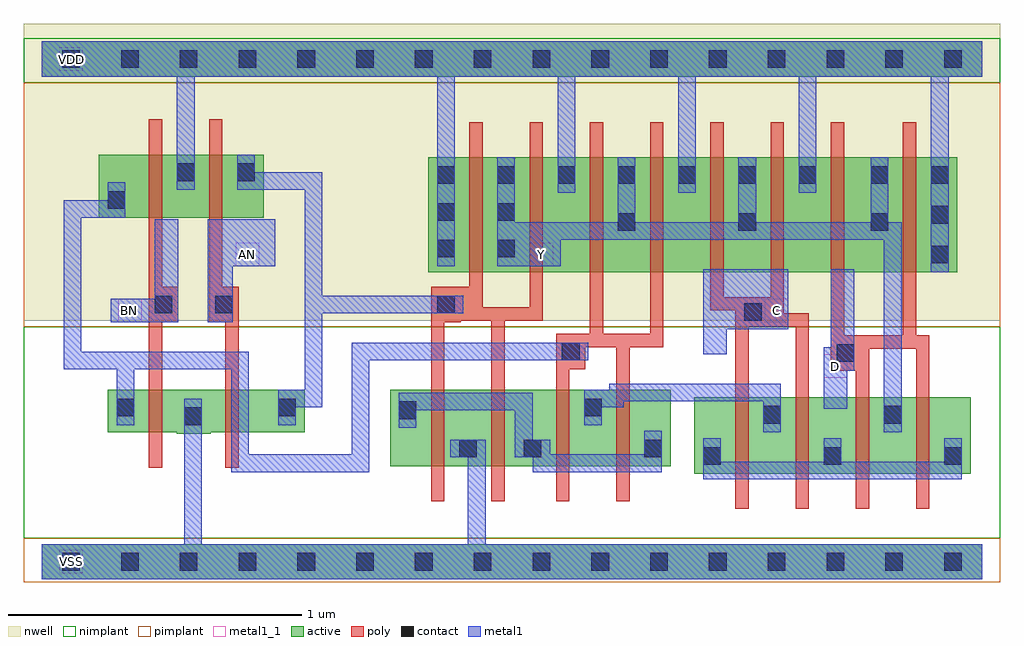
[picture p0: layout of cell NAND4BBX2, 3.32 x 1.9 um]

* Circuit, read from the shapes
.subckt NAND4BBX2 AN BN C D VDD VSS Y
M1 VSS BN n1 VSS nfet w=0.145u l=0.045u
M2 n2 AN VSS VSS nfet w=0.145u l=0.045u
M3 VSS n2 n3 VSS nfet w=0.26u l=0.045u m=2
M4 n4 n1 n3 VSS nfet w=0.26u l=0.045u m=2
M5 n4 C n5 VSS nfet w=0.26u l=0.045u m=2
M6 Y D n5 VSS nfet w=0.26u l=0.045u m=2
M7 VDD BN n1 VDD pfet w=0.215u l=0.045u
M8 n2 AN VDD VDD pfet w=0.215u l=0.045u
M9 Y n2 VDD VDD pfet w=0.39u l=0.045u m=2
M10 Y n1 VDD VDD pfet w=0.39u l=0.045u m=2
M11 Y C VDD VDD pfet w=0.39u l=0.045u m=2
M12 Y D VDD VDD pfet w=0.39u l=0.045u m=2
.ends

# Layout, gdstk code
import gdstk
lib = gdstk.Library(unit=1e-6, precision=5e-10)
def R(c, l, rs):  # rectangles x0, y0, x1, y1
    for r in rs: c.add(gdstk.rectangle(r[:2], r[2:], *l))
def A(c, l, x, y, w, h, nx, ny, dx, dy):  # array of equal rectangles
    R(c, l, [(x+i*dx, y+j*dy, x+i*dx+w, y+j*dy+h) for i in range(nx) for j in range(ny)])
def P(c, l, *ps):  # polygons
    for p in ps: c.add(gdstk.Polygon(p, *l))
active = (1, 0)
nwell = (2, 0)
poly = (3, 0)
nimplant = (4, 0)
pimplant = (5, 0)
contact = (6, 0)
metal1 = (7, 0)
metal1_1 = (7, 1)

nand4bbx2 = lib.new_cell('NAND4BBX2')
R(nand4bbx2, active, [(0,-0.06,3.2,0.06), (2.22,0.3,3.16,0.56), (1.185,0.325,2.14,0.585), (1.315,0.985,3.115,1.375), (0.195,1.17,0.755,1.385), (0,1.65,3.2,1.77)])
P(nand4bbx2, active, [(0.225,0.585),(0.895,0.585),(0.895,0.44),(0.575,0.44),(0.575,0.435),(0.46,0.435),(0.46,0.44),(0.225,0.44)])
R(nand4bbx2, nwell, [(-0.06,0.82,3.26,1.83)])
P(nand4bbx2, poly, [(0.365,1.505),(0.41,1.505),(0.41,0.935),(0.465,0.935),(0.465,0.815),(0.41,0.815),(0.41,0.32),(0.365,0.32)],
  [(0.57,1.505),(0.615,1.505),(0.615,0.935),(0.67,0.935),(0.67,0.32),(0.625,0.32),(0.625,0.815),(0.57,0.815)],
  [(1.455,1.495),(1.5,1.495),(1.5,0.865),(1.66,0.865),(1.66,1.495),(1.705,1.495),(1.705,0.82),(1.575,0.82),(1.575,0.205),(1.53,0.205),(1.53,0.82),(1.425,0.82),(1.425,0.815),(1.37,0.815),(1.37,0.205),(1.325,0.205),(1.325,0.935),(1.455,0.935)],
  [(1.865,1.495),(1.91,1.495),(1.91,0.775),(2.07,0.775),(2.07,1.495),(2.115,1.495),(2.115,0.73),(2,0.73),(2,0.205),(1.955,0.205),(1.955,0.73),(1.85,0.73),(1.85,0.655),(1.795,0.655),(1.795,0.205),(1.75,0.205),(1.75,0.775),(1.865,0.775)],
  [(2.275,1.495),(2.32,1.495),(2.32,0.9),(2.48,0.9),(2.48,1.495),(2.525,1.495),(2.525,0.845),(2.61,0.845),(2.61,0.18),(2.565,0.18),(2.565,0.8),(2.405,0.8),(2.405,0.18),(2.36,0.18),(2.36,0.855),(2.275,0.855)],
  [(2.685,1.495),(2.73,1.495),(2.73,0.77),(2.93,0.77),(2.93,1.495),(2.975,1.495),(2.975,0.77),(3.02,0.77),(3.02,0.18),(2.975,0.18),(2.975,0.725),(2.815,0.725),(2.815,0.18),(2.77,0.18),(2.77,0.65),(2.685,0.65)])
R(nand4bbx2, nimplant, [(-0.06,0.08,3.26,0.8), (-0.06,1.63,3.26,1.78)])
R(nand4bbx2, pimplant, [(-0.06,-0.07,3.26,0.08), (-0.06,0.8,3.26,1.63)])
A(nand4bbx2, contact, 0.07, -0.03, 0.06, 0.06, 16, 2, 0.2, 1.71)
A(nand4bbx2, contact, 2.25, 0.33, 0.06, 0.06, 3, 1, 0.41, 0)
A(nand4bbx2, contact, 3.025, 1.015, 0.06, 0.06, 1, 3, 0, 0.135)
A(nand4bbx2, contact, 1.345, 1.285, 0.06, 0.06, 7, 1, 0.205, 0)
R(nand4bbx2, contact, [(1.42,0.355,1.48,0.415), (1.64,0.355,1.7,0.415), (2.05,0.355,2.11,0.415), (0.485,0.465,0.545,0.525), (2.455,0.47,2.515,0.53), (2.865,0.47,2.925,0.53), (1.215,0.485,1.275,0.545), (0.255,0.495,0.315,0.555), (0.805,0.495,0.865,0.555), (1.845,0.495,1.905,0.555), (2.705,0.68,2.765,0.74), (1.77,0.685,1.83,0.745), (2.39,0.82,2.45,0.88), (0.385,0.845,0.445,0.905), (0.59,0.845,0.65,0.905), (1.345,0.845,1.405,0.905), (1.345,1.035,1.405,1.095), (1.55,1.035,1.61,1.095), (1.96,1.125,2.02,1.185), (2.37,1.125,2.43,1.185), (2.82,1.125,2.88,1.185), (1.345,1.16,1.405,1.22), (1.55,1.16,1.61,1.22), (0.225,1.2,0.285,1.26), (2.82,1.285,2.88,1.345), (0.46,1.295,0.52,1.355), (0.665,1.295,0.725,1.355)])
P(nand4bbx2, metal1, [(0,1.77),(3.2,1.77),(3.2,1.65),(3.085,1.65),(3.085,0.985),(3.025,0.985),(3.025,1.65),(2.635,1.65),(2.635,1.255),(2.575,1.255),(2.575,1.65),(2.225,1.65),(2.225,1.255),(2.165,1.255),(2.165,1.65),(1.815,1.65),(1.815,1.255),(1.755,1.255),(1.755,1.65),(1.405,1.65),(1.405,1.005),(1.345,1.005),(1.345,1.65),(0.52,1.65),(0.52,1.265),(0.46,1.265),(0.46,1.65),(0,1.65)],
  [(0.225,1.29),(0.285,1.29),(0.285,1.17),(0.135,1.17),(0.135,0.715),(0.705,0.715),(0.705,0.365),(1.055,0.365),(1.055,0.745),(1.86,0.745),(1.86,0.685),(1.115,0.685),(1.115,0.305),(0.645,0.305),(0.645,0.655),(0.315,0.655),(0.315,0.465),(0.255,0.465),(0.255,0.655),(0.075,0.655),(0.075,1.23),(0.225,1.23)],
  [(0.665,1.385),(0.725,1.385),(0.725,1.325),(0.955,1.325),(0.955,0.905),(1.435,0.905),(1.435,0.845),(0.955,0.845),(0.955,0.525),(0.865,0.525),(0.865,0.465),(0.805,0.465),(0.805,0.585),(0.895,0.585),(0.895,1.265),(0.665,1.265)],
  [(0.565,1.165),(0.795,1.165),(0.795,1.005),(0.65,1.005),(0.65,0.815),(0.565,0.815)],
  [(0.385,1.165),(0.465,1.165),(0.465,0.815),(0.235,0.815),(0.235,0.895),(0.385,0.895)],
  [(1.55,1.375),(1.61,1.375),(1.61,1.155),(1.96,1.155),(1.96,1.375),(2.02,1.375),(2.02,1.155),(2.37,1.155),(2.37,1.375),(2.43,1.375),(2.43,1.155),(2.82,1.155),(2.82,1.375),(2.88,1.375),(2.88,1.155),(2.925,1.155),(2.925,0.44),(2.865,0.44),(2.865,1.095),(1.765,1.095),(1.765,1.005),(1.55,1.005)],
  [(2.25,0.995),(2.54,0.995),(2.54,0.79),(2.33,0.79),(2.33,0.705),(2.25,0.705)],
  [(0.485,0.555),(0.545,0.555),(0.545,0.06),(1.45,0.06),(1.45,0.355),(1.39,0.355),(1.39,0.415),(1.51,0.415),(1.51,0.06),(3.2,0.06),(3.2,-0.06),(0,-0.06),(0,0.06),(0.485,0.06)],
  [(2.685,0.995),(2.765,0.995),(2.765,0.65),(2.74,0.65),(2.74,0.52),(2.66,0.52),(2.66,0.73),(2.685,0.73)],
  [(1.93,0.605),(2.515,0.605),(2.515,0.44),(2.455,0.44),(2.455,0.545),(1.98,0.545),(1.98,0.525),(1.905,0.525),(1.905,0.465),(1.845,0.465),(1.845,0.585),(1.93,0.585)],
  [(1.215,0.575),(1.67,0.575),(1.67,0.415),(1.73,0.415),(1.73,0.365),(2.05,0.365),(2.05,0.445),(2.11,0.445),(2.11,0.305),(1.67,0.305),(1.67,0.355),(1.61,0.355),(1.61,0.515),(1.275,0.515),(1.275,0.455),(1.215,0.455)],
  [(2.25,0.42),(2.31,0.42),(2.31,0.34),(2.66,0.34),(2.66,0.42),(2.72,0.42),(2.72,0.34),(3.07,0.34),(3.07,0.42),(3.13,0.42),(3.13,0.28),(2.25,0.28)])
R(nand4bbx2, metal1_1, [(0.06,-0.04,0.14,0.04), (2.66,0.625,2.74,0.705), (0.26,0.815,0.34,0.895), (2.46,0.815,2.54,0.895), (0.66,1.005,0.74,1.085), (1.66,1.005,1.74,1.085), (0.06,1.67,0.14,1.75)])
nand4bbx2.add(gdstk.Label('Y', (1.7,1.045), layer=7, texttype=1))
nand4bbx2.add(gdstk.Label('D', (2.7,0.665), layer=7, texttype=1))
nand4bbx2.add(gdstk.Label('C', (2.5,0.855), layer=7, texttype=1))
nand4bbx2.add(gdstk.Label('AN', (0.7,1.045), layer=7, texttype=1))
nand4bbx2.add(gdstk.Label('BN', (0.3,0.855), layer=7, texttype=1))
nand4bbx2.add(gdstk.Label('VDD', (0.1,1.71), layer=7, texttype=1))
nand4bbx2.add(gdstk.Label('VSS', (0.1,0), layer=7, texttype=1))
nand4bbx2.add(gdstk.Label('NAND4BBX2', (0,0), layer=63, texttype=0))

lib.write_gds('NAND4BBX2.gds')
